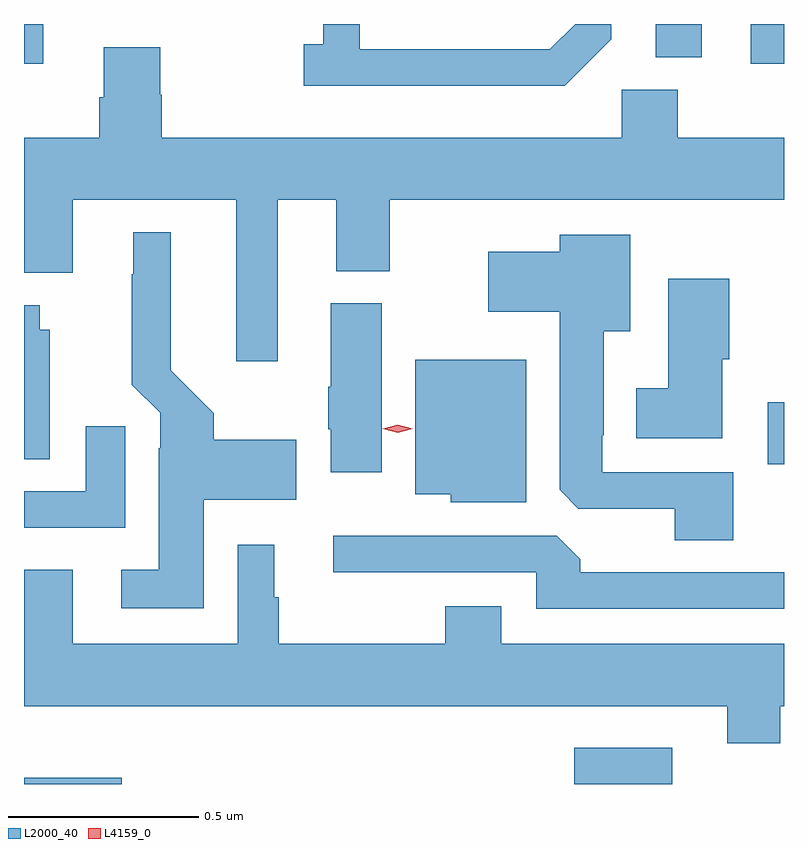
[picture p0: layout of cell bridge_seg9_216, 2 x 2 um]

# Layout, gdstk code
import gdstk
lib = gdstk.Library(unit=1e-6, precision=1e-09)
def R(c, l, rs):  # rectangles x0, y0, x1, y1
    for r in rs: c.add(gdstk.rectangle(r[:2], r[2:], *l))
def P(c, l, *ps):  # polygons
    for p in ps: c.add(gdstk.Polygon(p, *l))
L2000_40 = (2000, 40)
L4159_0 = (4159, 0)

bridge_seg9_216 = lib.new_cell('bridge_seg9_216')
R(bridge_seg9_216, L2000_40, [(155.675,1216.195,155.932,1216.212), (157.123,1216.195,157.381,1216.29), (157.632,1217.036,157.675,1217.199), (155.675,1218.09,155.725,1218.195), (157.587,1218.09,157.675,1218.195), (157.337,1218.107,157.459,1218.195)])
P(bridge_seg9_216, L2000_40, [(157.221,1218.155),(157.221,1218.195),(157.125,1218.195),(157.059,1218.129),(156.559,1218.129),(156.559,1218.195),(156.462,1218.195),(156.462,1218.142),(156.411,1218.142),(156.411,1218.032),(157.098,1218.032)],
  [(156.343,1217.732),(156.497,1217.732),(156.497,1217.545),(156.637,1217.545),(156.637,1217.732),(157.675,1217.732),(157.675,1217.896),(157.395,1217.896),(157.395,1218.022),(157.248,1218.022),(157.248,1217.896),(156.038,1217.896),(156.038,1218.009),(156.033,1218.009),(156.033,1218.134),(155.885,1218.134),(155.885,1218.002),(155.873,1218.002),(155.873,1217.896),(155.675,1217.896),(155.675,1217.54),(155.803,1217.54),(155.803,1217.732),(156.233,1217.732),(156.233,1217.307),(156.343,1217.307)],
  [(156.148,1216.943),(156.391,1216.943),(156.391,1217.101),(156.174,1217.101),(156.174,1217.171),(156.061,1217.284),(156.061,1217.647),(155.963,1217.647),(155.963,1217.537),(155.959,1217.537),(155.959,1217.246),(156.033,1217.172),(156.033,1217.078),(156.029,1217.078),(156.029,1216.759),(155.931,1216.759),(155.931,1216.658),(156.148,1216.658)],
  [(157.541,1217.016),(157.197,1217.016),(157.197,1217.113),(157.201,1217.113),(157.201,1217.387),(157.27,1217.387),(157.27,1217.641),(157.085,1217.641),(157.085,1217.596),(156.897,1217.596),(156.897,1217.438),(157.085,1217.438),(157.085,1216.969),(157.134,1216.92),(157.388,1216.92),(157.388,1216.837),(157.541,1216.837)],
  [(157.513,1217.313),(157.531,1217.313),(157.531,1217.524),(157.37,1217.524),(157.37,1217.236),(157.286,1217.236),(157.286,1217.105),(157.513,1217.105)],
  [(156.616,1217.46),(156.482,1217.46),(156.482,1217.241),(156.475,1217.241),(156.475,1217.128),(156.482,1217.128),(156.482,1217.016),(156.616,1217.016)],
  [(155.743,1217.391),(155.716,1217.391),(155.716,1217.455),(155.675,1217.455),(155.675,1217.05),(155.743,1217.05)],
  [(156.997,1217.311),(156.704,1217.311),(156.704,1216.958),(156.798,1216.958),(156.798,1216.937),(156.997,1216.937)],
  [(155.941,1217.137),(155.837,1217.137),(155.837,1216.965),(155.675,1216.965),(155.675,1216.869),(155.941,1216.869)],
  [(157.675,1216.752),(157.139,1216.752),(157.139,1216.786),(157.077,1216.848),(156.489,1216.848),(156.489,1216.752),(157.023,1216.752),(157.023,1216.656),(157.675,1216.656)],
  [(157.665,1216.4),(157.675,1216.4),(157.675,1216.564),(156.931,1216.564),(156.931,1216.663),(156.784,1216.663),(156.784,1216.564),(156.346,1216.564),(156.346,1216.686),(156.334,1216.686),(156.334,1216.825),(156.237,1216.825),(156.237,1216.564),(155.803,1216.564),(155.803,1216.759),(155.675,1216.759),(155.675,1216.4),(157.526,1216.4),(157.526,1216.302),(157.665,1216.302)])
P(bridge_seg9_216, L4159_0, [(156.658,1217.12),(156.619,1217.13),(156.619,1217.13),(156.619,1217.13),(156.658,1217.14),(156.698,1217.13),(156.698,1217.13),(156.698,1217.13)])

lib.write_gds('bridge_seg9_216.gds')
